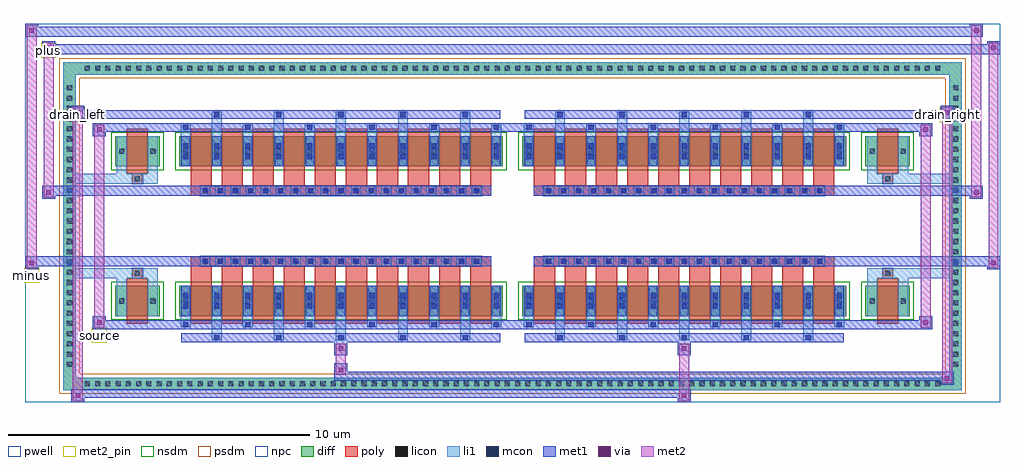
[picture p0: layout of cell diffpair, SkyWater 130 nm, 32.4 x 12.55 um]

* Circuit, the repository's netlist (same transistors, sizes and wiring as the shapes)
* NGSPICE file created from diffpair.ext - technology: sky130A

.subckt diffpair minus drain_right drain_left source plus
X0 source plus drain_left a_n2982_n1088# sky130_fd_pr__nfet_01v8 ad=0.165 pd=1.33 as=0.165 ps=1.33 w=1 l=0.7
X1 source plus drain_left a_n2982_n1088# sky130_fd_pr__nfet_01v8 ad=0.165 pd=1.33 as=0.165 ps=1.33 w=1 l=0.7
X2 source minus drain_right a_n2982_n1088# sky130_fd_pr__nfet_01v8 ad=0.165 pd=1.33 as=0.165 ps=1.33 w=1 l=0.7
X3 a_n2982_n1088# a_n2982_n1088# a_n2982_n1088# a_n2982_n1088# sky130_fd_pr__nfet_01v8 ad=0.39 pd=2.78 as=3.12 ps=22.24 w=1 l=0.7
X4 drain_left plus source a_n2982_n1088# sky130_fd_pr__nfet_01v8 ad=0.165 pd=1.33 as=0.39 ps=2.78 w=1 l=0.7
X5 source plus drain_left a_n2982_n1088# sky130_fd_pr__nfet_01v8 ad=0.165 pd=1.33 as=0.165 ps=1.33 w=1 l=0.7
X6 drain_left plus source a_n2982_n1088# sky130_fd_pr__nfet_01v8 ad=0.165 pd=1.33 as=0.165 ps=1.33 w=1 l=0.7
X7 source plus drain_left a_n2982_n1088# sky130_fd_pr__nfet_01v8 ad=0.165 pd=1.33 as=0.165 ps=1.33 w=1 l=0.7
X8 source plus drain_left a_n2982_n1088# sky130_fd_pr__nfet_01v8 ad=0.39 pd=2.78 as=0.165 ps=1.33 w=1 l=0.7
X9 drain_right minus source a_n2982_n1088# sky130_fd_pr__nfet_01v8 ad=0.165 pd=1.33 as=0.165 ps=1.33 w=1 l=0.7
X10 source minus drain_right a_n2982_n1088# sky130_fd_pr__nfet_01v8 ad=0.39 pd=2.78 as=0.165 ps=1.33 w=1 l=0.7
X11 drain_right minus source a_n2982_n1088# sky130_fd_pr__nfet_01v8 ad=0.165 pd=1.33 as=0.165 ps=1.33 w=1 l=0.7
X12 a_n2982_n1088# a_n2982_n1088# a_n2982_n1088# a_n2982_n1088# sky130_fd_pr__nfet_01v8 ad=0.39 pd=2.78 as=0 ps=0 w=1 l=0.7
X13 source plus drain_left a_n2982_n1088# sky130_fd_pr__nfet_01v8 ad=0.165 pd=1.33 as=0.165 ps=1.33 w=1 l=0.7
X14 drain_right minus source a_n2982_n1088# sky130_fd_pr__nfet_01v8 ad=0.165 pd=1.33 as=0.165 ps=1.33 w=1 l=0.7
X15 drain_right minus source a_n2982_n1088# sky130_fd_pr__nfet_01v8 ad=0.165 pd=1.33 as=0.165 ps=1.33 w=1 l=0.7
X16 drain_right minus source a_n2982_n1088# sky130_fd_pr__nfet_01v8 ad=0.165 pd=1.33 as=0.165 ps=1.33 w=1 l=0.7
X17 source minus drain_right a_n2982_n1088# sky130_fd_pr__nfet_01v8 ad=0.165 pd=1.33 as=0.165 ps=1.33 w=1 l=0.7
X18 drain_left plus source a_n2982_n1088# sky130_fd_pr__nfet_01v8 ad=0.165 pd=1.33 as=0.165 ps=1.33 w=1 l=0.7
X19 drain_right minus source a_n2982_n1088# sky130_fd_pr__nfet_01v8 ad=0.165 pd=1.33 as=0.39 ps=2.78 w=1 l=0.7
X20 source minus drain_right a_n2982_n1088# sky130_fd_pr__nfet_01v8 ad=0.165 pd=1.33 as=0.165 ps=1.33 w=1 l=0.7
X21 source plus drain_left a_n2982_n1088# sky130_fd_pr__nfet_01v8 ad=0.165 pd=1.33 as=0.165 ps=1.33 w=1 l=0.7
X22 drain_right minus source a_n2982_n1088# sky130_fd_pr__nfet_01v8 ad=0.165 pd=1.33 as=0.165 ps=1.33 w=1 l=0.7
X23 drain_left plus source a_n2982_n1088# sky130_fd_pr__nfet_01v8 ad=0.165 pd=1.33 as=0.39 ps=2.78 w=1 l=0.7
X24 drain_left plus source a_n2982_n1088# sky130_fd_pr__nfet_01v8 ad=0.165 pd=1.33 as=0.165 ps=1.33 w=1 l=0.7
X25 drain_left plus source a_n2982_n1088# sky130_fd_pr__nfet_01v8 ad=0.165 pd=1.33 as=0.165 ps=1.33 w=1 l=0.7
X26 source plus drain_left a_n2982_n1088# sky130_fd_pr__nfet_01v8 ad=0.39 pd=2.78 as=0.165 ps=1.33 w=1 l=0.7
X27 drain_right minus source a_n2982_n1088# sky130_fd_pr__nfet_01v8 ad=0.165 pd=1.33 as=0.39 ps=2.78 w=1 l=0.7
X28 drain_left plus source a_n2982_n1088# sky130_fd_pr__nfet_01v8 ad=0.165 pd=1.33 as=0.165 ps=1.33 w=1 l=0.7
X29 drain_left plus source a_n2982_n1088# sky130_fd_pr__nfet_01v8 ad=0.165 pd=1.33 as=0.165 ps=1.33 w=1 l=0.7
X30 source minus drain_right a_n2982_n1088# sky130_fd_pr__nfet_01v8 ad=0.165 pd=1.33 as=0.165 ps=1.33 w=1 l=0.7
X31 a_n2982_n1088# a_n2982_n1088# a_n2982_n1088# a_n2982_n1088# sky130_fd_pr__nfet_01v8 ad=0.39 pd=2.78 as=0 ps=0 w=1 l=0.7
X32 drain_right minus source a_n2982_n1088# sky130_fd_pr__nfet_01v8 ad=0.165 pd=1.33 as=0.165 ps=1.33 w=1 l=0.7
X33 source minus drain_right a_n2982_n1088# sky130_fd_pr__nfet_01v8 ad=0.39 pd=2.78 as=0.165 ps=1.33 w=1 l=0.7
X34 drain_left plus source a_n2982_n1088# sky130_fd_pr__nfet_01v8 ad=0.165 pd=1.33 as=0.165 ps=1.33 w=1 l=0.7
X35 source minus drain_right a_n2982_n1088# sky130_fd_pr__nfet_01v8 ad=0.165 pd=1.33 as=0.165 ps=1.33 w=1 l=0.7
X36 a_n2982_n1088# a_n2982_n1088# a_n2982_n1088# a_n2982_n1088# sky130_fd_pr__nfet_01v8 ad=0.39 pd=2.78 as=0 ps=0 w=1 l=0.7
X37 source minus drain_right a_n2982_n1088# sky130_fd_pr__nfet_01v8 ad=0.165 pd=1.33 as=0.165 ps=1.33 w=1 l=0.7
X38 source minus drain_right a_n2982_n1088# sky130_fd_pr__nfet_01v8 ad=0.165 pd=1.33 as=0.165 ps=1.33 w=1 l=0.7
X39 source minus drain_right a_n2982_n1088# sky130_fd_pr__nfet_01v8 ad=0.165 pd=1.33 as=0.165 ps=1.33 w=1 l=0.7
X40 drain_right minus source a_n2982_n1088# sky130_fd_pr__nfet_01v8 ad=0.165 pd=1.33 as=0.165 ps=1.33 w=1 l=0.7
X41 source plus drain_left a_n2982_n1088# sky130_fd_pr__nfet_01v8 ad=0.165 pd=1.33 as=0.165 ps=1.33 w=1 l=0.7
X42 source plus drain_left a_n2982_n1088# sky130_fd_pr__nfet_01v8 ad=0.165 pd=1.33 as=0.165 ps=1.33 w=1 l=0.7
X43 drain_left plus source a_n2982_n1088# sky130_fd_pr__nfet_01v8 ad=0.165 pd=1.33 as=0.165 ps=1.33 w=1 l=0.7
.ends

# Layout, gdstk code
import gdstk
lib = gdstk.Library(unit=1e-6, precision=5e-09)
def R(c, l, rs):  # rectangles x0, y0, x1, y1
    for r in rs: c.add(gdstk.rectangle(r[:2], r[2:], *l))
def A(c, l, x, y, w, h, nx, ny, dx, dy):  # array of equal rectangles
    R(c, l, [(x+i*dx, y+j*dy, x+i*dx+w, y+j*dy+h) for i in range(nx) for j in range(ny)])
def P(c, l, *ps):  # polygons
    for p in ps: c.add(gdstk.Polygon(p, *l))
pwell = (64, 44)
diff = (65, 20)
poly = (66, 20)
licon = (66, 44)
li1 = (67, 20)
mcon = (67, 44)
met1 = (68, 20)
via = (68, 44)
met2_pin = (69, 16)
met2 = (69, 20)
nsdm = (93, 44)
psdm = (94, 20)
npc = (95, 20)

diffpair = lib.new_cell('diffpair')
R(diffpair, pwell, [(-16.18,-5.84,16.18,6.71), (-13.5,-4.03,-0.01,-0.805), (0.01,-4.03,13.5,-0.805), (-13.5,0.805,-0.01,4.03), (0.01,0.805,13.5,4.03)])
A(diffpair, diff, -14.315, -5.44, 0.41, 0.41, 84, 2, 0.34, 10.47)
A(diffpair, diff, -14.91, -4.795, 0.41, 0.41, 1, 28, 0, 0.34)
A(diffpair, diff, 14.5, -4.795, 0.41, 0.41, 1, 28, 0, 0.34)
R(diffpair, diff, [(-14.315,-5.44,14.315,-5.03), (-14.91,-4.795,-14.5,4.795), (14.5,-4.795,14.91,4.795), (-13.19,-2.985,-11.71,-1.985), (-11.07,-2.985,-0.32,-1.985), (0.32,-2.985,11.07,-1.985), (11.71,-2.985,13.19,-1.985), (-13.19,1.985,-11.71,2.985), (-11.07,1.985,-0.32,2.985), (0.32,1.985,11.07,2.985), (11.71,1.985,13.19,2.985), (-14.315,5.03,14.315,5.44)])
P(diffpair, diff, [(14.91,5.44),(-14.91,5.44),(-14.91,-5.03),(-14.5,-5.03),(-14.5,5.03),(14.5,5.03),(14.5,-5.03),(-14.5,-5.03),(-14.91,-5.03),(-14.91,-5.44),(14.91,-5.44)])
A(diffpair, poly, -10.68, -3.235, 0.7, 1.5, 10, 2, 1.03, 4.97)
A(diffpair, poly, 0.71, -3.235, 0.7, 1.5, 10, 2, 1.03, 4.97)
A(diffpair, poly, -10.68, -1.735, 0.7, 0.4, 10, 2, 1.03, 3.07)
A(diffpair, poly, 0.71, -1.735, 0.7, 0.4, 10, 2, 1.03, 3.07)
A(diffpair, poly, -10.36, -1.335, 0.33, 0.33, 19, 2, 0.5, 2.34)
A(diffpair, poly, 1.03, -1.335, 0.33, 0.33, 19, 2, 0.5, 2.34)
R(diffpair, poly, [(-12.8,-3.235,-12.1,-1.735), (12.1,-3.235,12.8,-1.735), (-12.615,-1.735,-12.285,-1.405), (-12.615,-1.735,-12.285,-1.405), (12.285,-1.735,12.615,-1.405), (12.285,-1.735,12.615,-1.405), (-10.68,-1.335,-0.71,-1.005), (0.71,-1.335,10.68,-1.005), (-10.68,1.005,-0.71,1.335), (0.71,1.005,10.68,1.335), (-12.615,1.405,-12.285,1.735), (-12.615,1.405,-12.285,1.735), (12.285,1.405,12.615,1.735), (12.285,1.405,12.615,1.735), (-12.8,1.735,-12.1,3.235), (12.1,1.735,12.8,3.235)])
A(diffpair, licon, -14.195, -5.32, 0.17, 0.17, 84, 2, 0.34, 10.47)
A(diffpair, licon, -14.79, -4.675, 0.17, 0.17, 1, 28, 0, 0.34)
A(diffpair, licon, 14.62, -4.675, 0.17, 0.17, 1, 28, 0, 0.34)
A(diffpair, licon, -10.93, -2.57, 0.17, 0.17, 11, 2, 1.03, 4.97)
A(diffpair, licon, 0.46, -2.57, 0.17, 0.17, 11, 2, 1.03, 4.97)
A(diffpair, licon, -10.28, -1.255, 0.17, 0.17, 19, 2, 0.5, 2.34)
A(diffpair, licon, 1.11, -1.255, 0.17, 0.17, 19, 2, 0.5, 2.34)
R(diffpair, licon, [(-13.05,-2.57,-12.88,-2.4), (-12.02,-2.57,-11.85,-2.4), (11.85,-2.57,12.02,-2.4), (12.88,-2.57,13.05,-2.4), (-12.535,-1.655,-12.365,-1.485), (12.365,-1.655,12.535,-1.485), (-12.535,1.485,-12.365,1.655), (12.365,1.485,12.535,1.655), (-13.05,2.4,-12.88,2.57), (-12.02,2.4,-11.85,2.57), (11.85,2.4,12.02,2.57), (12.88,2.4,13.05,2.57)])
A(diffpair, li1, -14.275, -5.4, 0.33, 0.33, 84, 2, 0.34, 10.47)
A(diffpair, li1, -14.87, -4.755, 0.33, 0.33, 1, 28, 0, 0.34)
A(diffpair, li1, 14.54, -4.755, 0.33, 0.33, 1, 28, 0, 0.34)
A(diffpair, li1, -9.98, -3.79, 0.33, 0.805, 5, 2, 2.06, 6.775)
A(diffpair, li1, -9.9, -3.79, 0.17, 0.17, 5, 2, 2.06, 7.41)
A(diffpair, li1, 1.41, -3.79, 0.33, 0.805, 5, 2, 2.06, 6.775)
A(diffpair, li1, 1.49, -3.79, 0.17, 0.17, 5, 2, 2.06, 7.41)
A(diffpair, li1, -11.01, -3.36, 0.33, 0.375, 6, 2, 2.06, 6.345)
A(diffpair, li1, -10.93, -3.36, 0.17, 0.17, 6, 2, 2.06, 6.55)
A(diffpair, li1, 0.38, -3.36, 0.33, 0.375, 6, 2, 2.06, 6.345)
A(diffpair, li1, 0.46, -3.36, 0.17, 0.17, 6, 2, 2.06, 6.55)
A(diffpair, li1, -11.01, -2.985, 0.33, 1, 11, 2, 1.03, 4.97)
A(diffpair, li1, 0.38, -2.985, 0.33, 1, 11, 2, 1.03, 4.97)
A(diffpair, li1, -10.93, -2.75, 0.17, 0.17, 11, 2, 1.03, 0.36)
A(diffpair, li1, -10.93, -2.75, 0.17, 0.53, 11, 2, 1.03, 4.97)
A(diffpair, li1, 0.46, -2.75, 0.17, 0.17, 11, 2, 1.03, 0.36)
A(diffpair, li1, 0.46, -2.75, 0.17, 0.53, 11, 2, 1.03, 4.97)
A(diffpair, li1, -11.01, -2.65, 0.33, 0.33, 11, 2, 1.03, 4.97)
A(diffpair, li1, 0.38, -2.65, 0.33, 0.33, 11, 2, 1.03, 4.97)
A(diffpair, li1, -10.36, -1.335, 0.33, 0.33, 19, 2, 0.5, 2.34)
A(diffpair, li1, 1.03, -1.335, 0.33, 0.33, 19, 2, 0.5, 2.34)
A(diffpair, li1, -10.93, 2.22, 0.17, 0.17, 11, 2, 1.03, 0.36)
A(diffpair, li1, 0.46, 2.22, 0.17, 0.17, 11, 2, 1.03, 0.36)
R(diffpair, li1, [(-14.91,-5.44,-14.5,-5.03), (-14.91,-5.44,-14.5,-5.03), (-14.5,-5.44,14.5,-5.03), (14.5,-5.44,14.91,-5.03), (14.5,-5.44,14.91,-5.03), (-14.91,-5.03,-14.5,5.03), (14.5,-5.03,14.91,5.03), (-13.13,-2.985,-12.8,-1.985), (-12.1,-2.985,-11.77,-1.985), (11.77,-2.985,12.1,-1.985), (12.8,-2.985,13.13,-1.985), (-13.13,-2.65,-12.8,-2.32), (-12.1,-2.65,-11.77,-2.32), (11.77,-2.65,12.1,-2.32), (12.8,-2.65,13.13,-2.32), (-13.13,-1.985,-12.8,-1.405), (-12.1,-1.985,-11.77,-1.405), (11.77,-1.985,12.1,-1.405), (12.8,-1.985,13.13,-1.405), (-14.91,-1.735,-12.615,-1.405), (-13.13,-1.735,-12.615,-1.405), (-12.615,-1.735,-12.285,-1.405), (-12.285,-1.735,-11.77,-1.405), (11.77,-1.735,12.285,-1.405), (12.285,-1.735,12.615,-1.405), (12.285,-1.735,14.91,-1.405), (12.615,-1.735,13.13,-1.405), (-14.91,1.405,-12.615,1.735), (-13.13,1.405,-12.615,1.735), (-13.13,1.405,-12.8,1.985), (-12.615,1.405,-12.285,1.735), (-12.285,1.405,-11.77,1.735), (-12.1,1.405,-11.77,1.985), (11.77,1.405,12.285,1.735), (11.77,1.405,12.1,1.985), (12.285,1.405,12.615,1.735), (12.285,1.405,14.91,1.735), (12.615,1.405,13.13,1.735), (12.8,1.405,13.13,1.985), (-13.13,1.985,-12.8,2.985), (-12.1,1.985,-11.77,2.985), (11.77,1.985,12.1,2.985), (12.8,1.985,13.13,2.985), (-13.13,2.32,-12.8,2.65), (-12.1,2.32,-11.77,2.65), (11.77,2.32,12.1,2.65), (12.8,2.32,13.13,2.65), (-14.91,5.03,-14.5,5.44), (-14.91,5.03,-14.5,5.44), (-14.5,5.03,14.5,5.44), (14.5,5.03,14.91,5.44), (14.5,5.03,14.91,5.44)])
A(diffpair, mcon, -9.9, -3.79, 0.17, 0.17, 5, 2, 2.06, 7.41)
A(diffpair, mcon, 1.49, -3.79, 0.17, 0.17, 5, 2, 2.06, 7.41)
A(diffpair, mcon, -10.93, -3.36, 0.17, 0.17, 6, 2, 2.06, 6.55)
A(diffpair, mcon, 0.46, -3.36, 0.17, 0.17, 6, 2, 2.06, 6.55)
A(diffpair, mcon, -10.93, -2.75, 0.17, 0.17, 11, 2, 1.03, 0.36)
A(diffpair, mcon, 0.46, -2.75, 0.17, 0.17, 11, 2, 1.03, 0.36)
A(diffpair, mcon, -10.28, -1.255, 0.17, 0.17, 19, 2, 0.5, 2.34)
A(diffpair, mcon, 1.11, -1.255, 0.17, 0.17, 19, 2, 0.5, 2.34)
A(diffpair, mcon, -10.93, 2.22, 0.17, 0.17, 11, 2, 1.03, 0.36)
A(diffpair, mcon, 0.46, 2.22, 0.17, 0.17, 11, 2, 1.03, 0.36)
A(diffpair, met1, -9.96, -3.85, 0.29, 0.29, 5, 2, 2.06, 7.41)
A(diffpair, met1, 1.43, -3.85, 0.29, 0.29, 5, 2, 2.06, 7.41)
A(diffpair, met1, -10.99, -3.42, 0.29, 0.29, 6, 2, 2.06, 6.55)
A(diffpair, met1, 0.4, -3.42, 0.29, 0.29, 6, 2, 2.06, 6.55)
A(diffpair, met1, -10.99, -2.985, 0.29, 1, 11, 2, 1.03, 4.97)
A(diffpair, met1, 0.4, -2.985, 0.29, 1, 11, 2, 1.03, 4.97)
A(diffpair, met1, -10.99, -2.81, 0.29, 0.29, 11, 2, 1.03, 0.36)
A(diffpair, met1, 0.4, -2.81, 0.29, 0.29, 11, 2, 1.03, 0.36)
A(diffpair, met1, -10.34, -1.315, 0.29, 0.29, 19, 2, 0.5, 2.34)
A(diffpair, met1, 1.05, -1.315, 0.29, 0.29, 19, 2, 0.5, 2.34)
A(diffpair, met1, -10.99, 2.16, 0.29, 0.29, 11, 2, 1.03, 0.36)
A(diffpair, met1, 0.4, 2.16, 0.29, 0.29, 11, 2, 1.03, 0.36)
R(diffpair, met1, [(-14.64,-5.84,-14.21,-5.41), (5.48,-5.84,5.91,-5.41), (-14.64,-5.7,5.91,-5.41), (14.21,-5.27,14.64,-4.84), (-5.91,-5.13,14.64,-4.84), (-5.91,-4.99,-5.48,-4.56), (-5.91,-4.28,-5.48,-3.85), (5.48,-4.28,5.91,-3.85), (-10.99,-3.85,-0.4,-3.56), (0.4,-3.85,10.99,-3.56), (-13.93,-3.42,-13.5,-2.99), (-13.93,-3.42,-10.99,-3.13), (-10.99,-3.42,-0.4,-3.13), (-0.4,-3.42,0.4,-3.13), (0.4,-3.42,10.99,-3.13), (10.99,-3.42,13.93,-3.13), (13.5,-3.42,13.93,-2.99), (-16.18,-1.435,-15.75,-1.005), (15.75,-1.435,16.18,-1.005), (-16.18,-1.335,-0.71,-1.005), (-10.68,-1.335,-0.71,-1.005), (0.71,-1.335,10.68,-1.005), (0.71,-1.335,16.18,-1.005), (-15.61,0.905,-15.18,1.335), (15.18,0.905,15.61,1.335), (-15.61,1.005,-10.68,1.335), (-10.68,1.005,-0.71,1.335), (0.71,1.005,10.68,1.335), (10.68,1.005,15.61,1.335), (-13.93,2.99,-13.5,3.42), (13.5,2.99,13.93,3.42), (-13.93,3.13,-10.99,3.42), (-10.99,3.13,-0.4,3.42), (-0.4,3.13,0.4,3.42), (0.4,3.13,10.99,3.42), (10.99,3.13,13.93,3.42), (-14.64,3.56,-14.21,3.99), (-14.64,3.56,-10.99,3.85), (-10.99,3.56,-0.4,3.85), (0.4,3.56,10.99,3.85), (10.99,3.56,14.64,3.85), (14.21,3.56,14.64,3.99), (-15.61,5.71,-15.18,6.14), (-15.61,5.71,-13.5,6.04), (-13.5,5.71,13.5,6.04), (13.5,5.71,16.18,6.04), (15.75,5.71,16.18,6.14), (-16.18,6.28,-15.75,6.71), (-16.18,6.28,-13.5,6.61), (-13.5,6.28,13.5,6.61), (13.5,6.28,15.61,6.61), (15.18,6.28,15.61,6.71)])
R(diffpair, via, [(-14.5,-5.7,-14.35,-5.55), (5.62,-5.7,5.77,-5.55), (14.35,-5.13,14.5,-4.98), (-5.77,-4.85,-5.62,-4.7), (-5.77,-4.14,-5.62,-3.99), (5.62,-4.14,5.77,-3.99), (-13.79,-3.28,-13.64,-3.13), (13.64,-3.28,13.79,-3.13), (-16.04,-1.295,-15.89,-1.145), (15.89,-1.295,16.04,-1.145), (-15.47,1.045,-15.32,1.195), (15.32,1.045,15.47,1.195), (-13.79,3.13,-13.64,3.28), (13.64,3.13,13.79,3.28), (-14.5,3.7,-14.35,3.85), (14.35,3.7,14.5,3.85), (-15.47,5.85,-15.32,6), (15.89,5.85,16.04,6), (-16.04,6.42,-15.89,6.57), (15.32,6.42,15.47,6.57)])
R(diffpair, met2_pin, [(-13.965,-3.87,-13.465,-3.37), (-16.215,-1.885,-15.715,-1.385), (-14.675,3.44,-14.175,3.94), (14.175,3.44,14.675,3.94), (-15.645,5.59,-15.145,6.09)])
R(diffpair, met2, [(-14.59,-5.79,-14.26,-5.46), (-14.59,-5.79,-14.26,3.94), (5.53,-5.79,5.86,-5.46), (5.53,-5.46,5.86,-4.23), (14.26,-5.22,14.59,-4.89), (14.26,-5.22,14.59,3.94), (-5.86,-4.94,-5.53,-4.61), (-5.86,-4.61,-5.53,-4.23), (-5.86,-4.23,-5.53,-3.9), (5.53,-4.23,5.86,-3.9), (-13.88,-3.37,-13.55,-3.04), (-13.88,-3.37,-13.55,3.37), (13.55,-3.37,13.88,-3.04), (13.55,-3.37,13.88,3.37), (-16.13,-1.385,-15.8,-1.055), (-16.13,-1.385,-15.8,6.66), (15.8,-1.385,16.13,-1.055), (15.8,-1.385,16.13,6.09), (-15.56,0.955,-15.23,1.285), (-15.56,0.955,-15.23,6.09), (15.23,0.955,15.56,1.285), (15.23,0.955,15.56,6.66), (-13.88,3.04,-13.55,3.37), (13.55,3.04,13.88,3.37), (-14.59,3.61,-14.26,3.94), (14.26,3.61,14.59,3.94), (-15.56,5.76,-15.23,6.09), (15.8,5.76,16.13,6.09), (-16.13,6.33,-15.8,6.66), (15.23,6.33,15.56,6.66)])
P(diffpair, met2, [(16.13,-1.385),(16.13,-1.385),(16.13,-1.055),(16.13,-1.055)],
  [(16.13,5.76),(16.13,5.76),(16.13,6.09),(16.13,6.09)],
  [(-15.8,-1.385),(-15.8,-1.385),(-15.8,-1.055),(-15.8,-1.055)],
  [(-15.8,6.33),(-15.8,6.33),(-15.8,6.66),(-15.8,6.66)],
  [(15.56,0.955),(15.56,0.955),(15.56,1.285),(15.56,1.285)],
  [(15.56,6.33),(15.56,6.33),(15.56,6.66),(15.56,6.66)],
  [(-15.23,0.955),(-15.23,0.955),(-15.23,1.285),(-15.23,1.285)],
  [(-15.23,5.76),(-15.23,5.76),(-15.23,6.09),(-15.23,6.09)],
  [(-14.26,-5.79),(-14.26,-5.79),(-14.26,-5.46),(-14.26,-5.46)],
  [(-14.26,3.61),(-14.26,3.61),(-14.26,3.94),(-14.26,3.94)],
  [(14.59,-5.22),(14.59,-5.22),(14.59,-4.89),(14.59,-4.89)],
  [(14.59,3.61),(14.59,3.61),(14.59,3.94),(14.59,3.94)],
  [(-13.55,-3.37),(-13.55,-3.37),(-13.55,-3.04),(-13.55,-3.04)],
  [(-13.55,3.04),(-13.55,3.04),(-13.55,3.37),(-13.55,3.37)],
  [(13.88,-3.37),(13.88,-3.37),(13.88,-3.04),(13.88,-3.04)],
  [(13.88,3.04),(13.88,3.04),(13.88,3.37),(13.88,3.37)])
R(diffpair, nsdm, [(-13.32,-3.115,-11.58,-1.855), (-11.2,-3.115,-0.19,-1.855), (0.19,-3.115,11.2,-1.855), (11.58,-3.115,13.32,-1.855), (-13.32,1.855,-11.58,3.115), (-11.2,1.855,-0.19,3.115), (0.19,1.855,11.2,3.115), (11.58,1.855,13.32,3.115)])
P(diffpair, psdm, [(15.04,5.57),(-15.04,5.57),(-15.04,-4.9),(-14.37,-4.9),(-14.37,4.9),(14.37,4.9),(14.37,-4.9),(-14.37,-4.9),(-15.04,-4.9),(-15.04,-5.57),(15.04,-5.57)])
A(diffpair, npc, -10.38, -1.355, 0.37, 0.37, 19, 2, 0.5, 2.34)
A(diffpair, npc, 1.01, -1.355, 0.37, 0.37, 19, 2, 0.5, 2.34)
R(diffpair, npc, [(-12.635,-1.755,-12.265,-1.385), (12.265,-1.755,12.635,-1.385), (-10.38,-1.355,-9.51,-0.985), (-10.38,-1.355,-9.51,-0.985), (-9.88,-1.355,-9.01,-0.985), (-9.88,-1.355,-9.01,-0.985), (-9.38,-1.355,-8.51,-0.985), (-9.38,-1.355,-8.51,-0.985), (-8.88,-1.355,-8.01,-0.985), (-8.88,-1.355,-8.01,-0.985), (-8.38,-1.355,-7.51,-0.985), (-8.38,-1.355,-7.51,-0.985), (-7.88,-1.355,-7.01,-0.985), (-7.88,-1.355,-7.01,-0.985), (-7.38,-1.355,-6.51,-0.985), (-7.38,-1.355,-6.51,-0.985), (-6.88,-1.355,-6.01,-0.985), (-6.88,-1.355,-6.01,-0.985), (-6.38,-1.355,-5.51,-0.985), (-6.38,-1.355,-5.51,-0.985), (-5.88,-1.355,-5.01,-0.985), (-5.88,-1.355,-5.01,-0.985), (-5.38,-1.355,-4.51,-0.985), (-5.38,-1.355,-4.51,-0.985), (-4.88,-1.355,-4.01,-0.985), (-4.88,-1.355,-4.01,-0.985), (-4.38,-1.355,-3.51,-0.985), (-4.38,-1.355,-3.51,-0.985), (-3.88,-1.355,-3.01,-0.985), (-3.88,-1.355,-3.01,-0.985), (-3.38,-1.355,-2.51,-0.985), (-3.38,-1.355,-2.51,-0.985), (-2.88,-1.355,-2.01,-0.985), (-2.88,-1.355,-2.01,-0.985), (-2.38,-1.355,-1.51,-0.985), (-2.38,-1.355,-1.51,-0.985), (-1.88,-1.355,-1.01,-0.985), (-1.88,-1.355,-1.01,-0.985), (1.01,-1.355,1.88,-0.985), (1.01,-1.355,1.88,-0.985), (1.51,-1.355,2.38,-0.985), (1.51,-1.355,2.38,-0.985), (2.01,-1.355,2.88,-0.985), (2.01,-1.355,2.88,-0.985), (2.51,-1.355,3.38,-0.985), (2.51,-1.355,3.38,-0.985), (3.01,-1.355,3.88,-0.985), (3.01,-1.355,3.88,-0.985), (3.51,-1.355,4.38,-0.985), (3.51,-1.355,4.38,-0.985), (4.01,-1.355,4.88,-0.985), (4.01,-1.355,4.88,-0.985), (4.51,-1.355,5.38,-0.985), (4.51,-1.355,5.38,-0.985), (5.01,-1.355,5.88,-0.985), (5.01,-1.355,5.88,-0.985), (5.51,-1.355,6.38,-0.985), (5.51,-1.355,6.38,-0.985), (6.01,-1.355,6.88,-0.985), (6.01,-1.355,6.88,-0.985), (6.51,-1.355,7.38,-0.985), (6.51,-1.355,7.38,-0.985), (7.01,-1.355,7.88,-0.985), (7.01,-1.355,7.88,-0.985), (7.51,-1.355,8.38,-0.985), (7.51,-1.355,8.38,-0.985), (8.01,-1.355,8.88,-0.985), (8.01,-1.355,8.88,-0.985), (8.51,-1.355,9.38,-0.985), (8.51,-1.355,9.38,-0.985), (9.01,-1.355,9.88,-0.985), (9.01,-1.355,9.88,-0.985), (9.51,-1.355,10.38,-0.985), (9.51,-1.355,10.38,-0.985), (-10.38,0.985,-9.51,1.355), (-10.38,0.985,-9.51,1.355), (-9.88,0.985,-9.01,1.355), (-9.88,0.985,-9.01,1.355), (-9.38,0.985,-8.51,1.355), (-9.38,0.985,-8.51,1.355), (-8.88,0.985,-8.01,1.355), (-8.88,0.985,-8.01,1.355), (-8.38,0.985,-7.51,1.355), (-8.38,0.985,-7.51,1.355), (-7.88,0.985,-7.01,1.355), (-7.88,0.985,-7.01,1.355), (-7.38,0.985,-6.51,1.355), (-7.38,0.985,-6.51,1.355), (-6.88,0.985,-6.01,1.355), (-6.88,0.985,-6.01,1.355), (-6.38,0.985,-5.51,1.355), (-6.38,0.985,-5.51,1.355), (-5.88,0.985,-5.01,1.355), (-5.88,0.985,-5.01,1.355), (-5.38,0.985,-4.51,1.355), (-5.38,0.985,-4.51,1.355), (-4.88,0.985,-4.01,1.355), (-4.88,0.985,-4.01,1.355), (-4.38,0.985,-3.51,1.355), (-4.38,0.985,-3.51,1.355), (-3.88,0.985,-3.01,1.355), (-3.88,0.985,-3.01,1.355), (-3.38,0.985,-2.51,1.355), (-3.38,0.985,-2.51,1.355), (-2.88,0.985,-2.01,1.355), (-2.88,0.985,-2.01,1.355), (-2.38,0.985,-1.51,1.355), (-2.38,0.985,-1.51,1.355), (-1.88,0.985,-1.01,1.355), (-1.88,0.985,-1.01,1.355), (1.01,0.985,1.88,1.355), (1.01,0.985,1.88,1.355), (1.51,0.985,2.38,1.355), (1.51,0.985,2.38,1.355), (2.01,0.985,2.88,1.355), (2.01,0.985,2.88,1.355), (2.51,0.985,3.38,1.355), (2.51,0.985,3.38,1.355), (3.01,0.985,3.88,1.355), (3.01,0.985,3.88,1.355), (3.51,0.985,4.38,1.355), (3.51,0.985,4.38,1.355), (4.01,0.985,4.88,1.355), (4.01,0.985,4.88,1.355), (4.51,0.985,5.38,1.355), (4.51,0.985,5.38,1.355), (5.01,0.985,5.88,1.355), (5.01,0.985,5.88,1.355), (5.51,0.985,6.38,1.355), (5.51,0.985,6.38,1.355), (6.01,0.985,6.88,1.355), (6.01,0.985,6.88,1.355), (6.51,0.985,7.38,1.355), (6.51,0.985,7.38,1.355), (7.01,0.985,7.88,1.355), (7.01,0.985,7.88,1.355), (7.51,0.985,8.38,1.355), (7.51,0.985,8.38,1.355), (8.01,0.985,8.88,1.355), (8.01,0.985,8.88,1.355), (8.51,0.985,9.38,1.355), (8.51,0.985,9.38,1.355), (9.01,0.985,9.88,1.355), (9.01,0.985,9.88,1.355), (9.51,0.985,10.38,1.355), (9.51,0.985,10.38,1.355), (-12.635,1.385,-12.265,1.755), (12.265,1.385,12.635,1.755)])
diffpair.add(gdstk.Label('minus', (-15.965,-1.635), layer=69, texttype=5))
diffpair.add(gdstk.Label('drain_right', (14.425,3.69), layer=69, texttype=5))
diffpair.add(gdstk.Label('drain_left', (-14.425,3.69), layer=69, texttype=5))
diffpair.add(gdstk.Label('source', (-13.715,-3.62), layer=69, texttype=5))
diffpair.add(gdstk.Label('plus', (-15.395,5.84), layer=69, texttype=5))

lib.write_gds('diffpair.gds')
